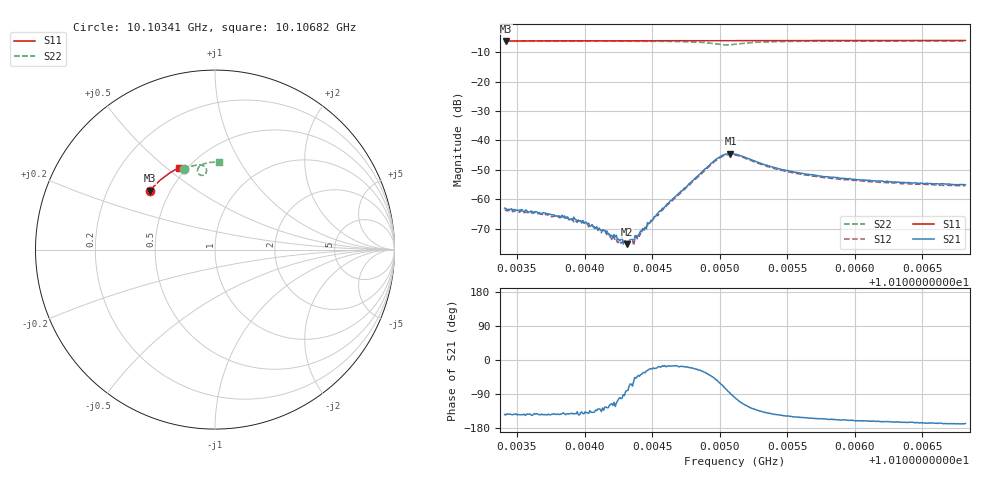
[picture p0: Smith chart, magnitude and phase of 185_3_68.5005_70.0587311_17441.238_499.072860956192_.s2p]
#  HZ  S  RI  R  50.00
! Rohde & Schwarz Vector Network Analyzer
! Rohde-Schwarz,ZNB20-2Port,1311601062101988,3.16
! Created: UTC 3/20/2024, 5:12:01 PM
! freq[Hz]  re:S11  im:S11  re:S21  im:S21  re:S12  im:S12  re:S22  im:S22
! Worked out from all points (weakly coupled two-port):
!   401 points, 10.10341 GHz to 10.10682 GHz, reference 50 ohm
!   highest |S21| = -44.44 dB at 10.10508 GHz (marker M1); lowest = -75.2 dB at 10.10431 GHz (marker M2)
!   lowest |S11| = -6.2 dB at 10.10342 GHz (marker M3), VSWR 2.91, Z = 19.4 + j16.7 ohm
!   |S11| at or under -10 dB: nowhere
!   |S22| runs from -7.5 to -6.2 dB; largest |S21 - S12| = 0.00065
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1.0103409e10  -0.3629 0.3283  -0.000573 -0.000418  -0.00046 -0.000457  -0.1754 0.4482
1.0103417e10  -0.3623 0.3285  -0.000574 -0.000401  -0.000484 -0.000446  -0.1749 0.4485
1.010363e10  -0.354 0.3384  -0.000479 -0.000384  -0.000458 -0.000408  -0.1613 0.454
1.0103716e10  -0.3505 0.3423  -0.000466 -0.000339  -0.000414 -0.000378  -0.156 0.4561
1.010398e10  -0.3396 0.3541  -0.000291 -0.000268  -0.000311 -0.000291  -0.1385 0.4621
1.010415e10  -0.3324 0.3615  -0.000168 -0.000246  -0.000152 -0.000232  -0.1265 0.4656
1.0104184e10  -0.331 0.363  -0.000128 -0.000224  -8.58e-05 -0.000226  -0.1239 0.4664
1.0104201e10  -0.3302 0.3638  -0.000104 -0.00022  -9.56e-05 -0.000184  -0.1226 0.4668
1.0104244e10  -0.3283 0.3656  -6.4e-05 -0.000196  -3.88e-05 -0.00018  -0.1195 0.4675
1.0104312e10  -0.3254 0.3685  2.82e-05 -0.00017  2.77e-05 -0.000158  -0.1141 0.4687
1.0104329e10  -0.3247 0.3693  6.58e-05 -0.000179  6.39e-05 -0.000184  -0.1127 0.469
1.010438e10  -0.3224 0.3715  0.000147 -0.000165  0.000181 -0.000164  -0.1086 0.4697
1.0104414e10  -0.3209 0.3726  0.000225 -0.000183  0.00022 -0.00015  -0.1057 0.4702
1.0104551e10  -0.3148 0.3784  0.000584 -0.000181  0.000543 -0.000146  -0.0935 0.4716
1.010496e10  -0.2959 0.3944  0.00304 -0.00335  0.00317 -0.00295  -0.047 0.4366
1.0105028e10  -0.2924 0.3969  0.00195 -0.00532  0.00235 -0.00495  -0.0586 0.4172
1.0105079e10  -0.2904 0.3987  0.00013 -0.006  0.000701 -0.00573  -0.0771 0.4139
1.0105113e10  -0.2888 0.4  -0.00098 -0.00578  -0.000459 -0.00564  -0.0878 0.4189
1.0105446e10  -0.2729 0.4123  -0.0027 -0.00187  -0.00243 -0.00202  -0.0779 0.4705
1.0105684e10  -0.2611 0.4208  -0.00233 -0.00116  -0.00211 -0.00128  -0.0569 0.4792
1.0106255e10  -0.2318 0.439  -0.00192 -0.000589  -0.00176 -0.000726  -0.0148 0.4869
1.0106818e10  -0.2016 0.455  -0.00173 -0.00038  -0.00162 -0.000473  0.0231 0.4886
